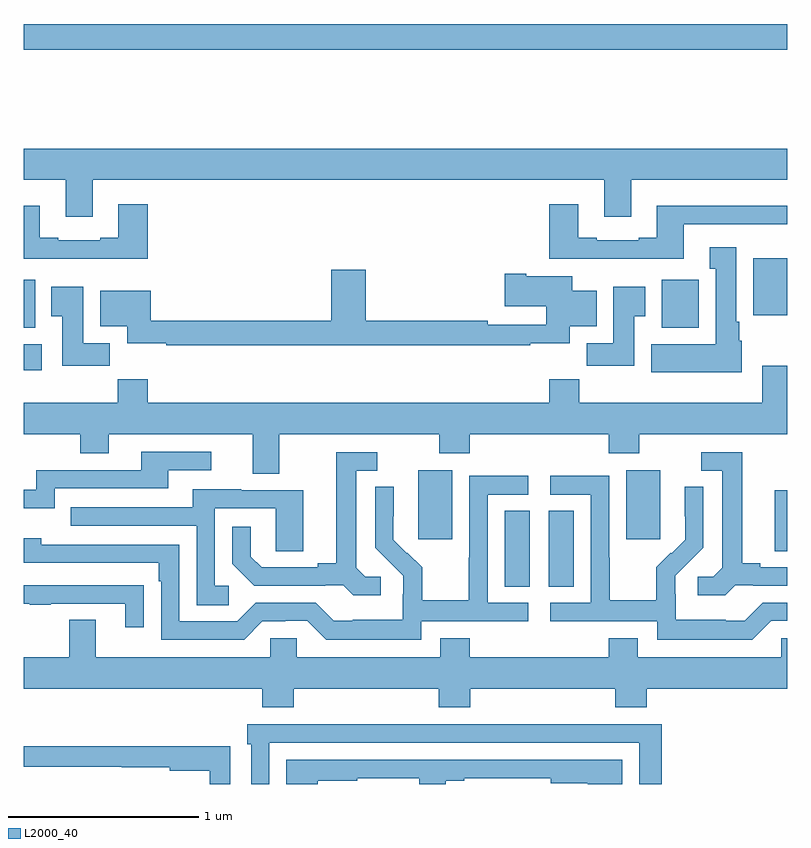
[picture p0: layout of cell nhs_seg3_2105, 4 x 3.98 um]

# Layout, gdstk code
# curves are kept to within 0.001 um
import gdstk
lib = gdstk.Library(unit=1e-6, precision=1e-09)
def R(c, l, rs):  # rectangles x0, y0, x1, y1
    for r in rs: c.add(gdstk.rectangle(r[:2], r[2:], *l))
def P(c, l, *ps):  # polygons
    for p in ps: c.add(gdstk.Polygon(p, *l))
L2000_40 = (2000, 40)

nhs_seg3_2105 = lib.new_cell('nhs_seg3_2105')
R(nhs_seg3_2105, L2000_40, [(221.519,717.433,221.65,717.83), (221.75,717.433,221.881,717.83), (222.935,717.619,223,717.939), (221.066,717.681,221.245,718.042), (222.155,717.681,222.334,718.042), (219,718.568,219.094,718.702), (219,718.79,219.061,719.04), (222.341,718.79,222.537,719.041), (222.821,718.856,223,719.152), (219,720.244,223,720.38)])
P(nhs_seg3_2105, L2000_40, [(219.361,719.564),(222.041,719.564),(222.041,719.37),(222.181,719.37),(222.181,719.564),(223,719.564),(223,719.728),(219,719.728),(219,719.564),(219.221,719.564),(219.221,719.37),(219.361,719.37)],
  [(222.457,719.331),(223,719.331),(223,719.428),(222.317,719.428),(222.317,719.26),(222.221,719.26),(222.221,719.247),(222.001,719.247),(222.001,719.26),(221.905,719.26),(221.905,719.437),(221.753,719.437),(221.753,719.15),(222.457,719.15)],
  [(219.65,719.437),(219.497,719.437),(219.497,719.26),(219.401,719.26),(219.401,719.247),(219.181,719.247),(219.181,719.26),(219.085,719.26),(219.085,719.428),(219,719.428),(219,719.15),(219.65,719.15)],
  [(222.76,718.722),(222.748,718.722),(222.748,718.822),(222.733,718.822),(222.733,719.212),(222.593,719.212),(222.593,719.099),(222.626,719.099),(222.626,718.702),(222.287,718.702),(222.287,718.556),(222.76,718.556)],
  [(221.654,718.709),(221.86,718.709),(221.86,718.796),(222.001,718.796),(222.001,718.984),(221.872,718.984),(221.872,719.059),(221.632,719.059),(221.632,719.072),(221.52,719.072),(221.52,718.901),(221.738,718.901),(221.738,718.806),(221.432,718.806),(221.432,718.826),(220.793,718.826),(220.793,719.092),(220.61,719.092),(220.61,718.826),(219.665,718.826),(219.665,718.984),(219.401,718.984),(219.401,718.796),(219.542,718.796),(219.542,718.709),(219.748,718.709),(219.748,718.698),(221.654,718.698)],
  [(222.199,718.849),(222.256,718.849),(222.256,719.005),(222.089,719.005),(222.089,718.708),(221.95,718.708),(221.95,718.59),(222.199,718.59)],
  [(219.452,718.708),(219.313,718.708),(219.313,719.005),(219.146,719.005),(219.146,718.849),(219.203,718.849),(219.203,718.59),(219.452,718.59)],
  [(220.339,718.232),(221.176,718.232),(221.176,718.133),(221.336,718.133),(221.336,718.232),(222.065,718.232),(222.065,718.133),(222.225,718.133),(222.225,718.232),(223,718.232),(223,718.591),(222.869,718.591),(222.869,718.396),(221.909,718.396),(221.909,718.52),(221.753,718.52),(221.753,718.396),(219.65,718.396),(219.65,718.52),(219.493,718.52),(219.493,718.396),(219,718.396),(219,718.232),(219.298,718.232),(219.298,718.133),(219.445,718.133),(219.445,718.232),(220.199,718.232),(220.199,718.024),(220.339,718.024)],
  [(219.162,717.948),(219.757,717.948),(219.757,718.044),(219.982,718.044),(219.982,718.14),(219.617,718.14),(219.617,718.044),(219.066,718.044),(219.066,717.942),(219,717.942),(219,717.845),(219.162,717.845)],
  [(222.726,717.441),(222.82,717.441),(222.82,717.438),(223,717.438),(223,717.534),(222.859,717.534),(222.859,717.557),(222.763,717.557),(222.763,718.137),(222.549,718.137),(222.549,718.041),(222.659,718.041),(222.659,717.533),(222.612,717.486),(222.531,717.486),(222.531,717.389),(222.674,717.389)],
  [(220.87,717.486),(220.788,717.486),(220.741,717.533),(220.741,718.041),(220.852,718.041),(220.852,718.137),(220.637,718.137),(220.637,717.557),(220.541,717.557),(220.541,717.534),(220.246,717.534),(220.189,717.591),(220.189,717.748),(220.092,717.748),(220.092,717.554),(220.208,717.438),(220.58,717.438),(220.58,717.441),(220.674,717.441),(220.726,717.389),(220.87,717.389)],
  [(222.915,717.255),(223,717.255),(223,717.348),(222.87,717.348),(222.777,717.255),(222.677,717.255),(222.677,717.259),(222.414,717.259),(222.414,717.393),(222.412,717.393),(222.412,717.49),(222.558,717.638),(222.558,717.956),(222.462,717.956),(222.462,717.802),(222.464,717.802),(222.464,717.68),(222.393,717.609),(222.39,717.612),(222.313,717.535),(222.313,717.361),(222.069,717.361),(222.069,717.584),(222.066,717.584),(222.066,718.014),(221.757,718.014),(221.757,717.915),(221.97,717.915),(221.97,717.348),(221.757,717.348),(221.757,717.252),(222.318,717.252),(222.318,717.155),(222.815,717.155)],
  [(221.082,717.252),(221.644,717.252),(221.644,717.348),(221.43,717.348),(221.43,717.915),(221.644,717.915),(221.644,718.014),(221.334,718.014),(221.334,717.584),(221.332,717.584),(221.332,717.361),(221.087,717.361),(221.087,717.535),(221.01,717.612),(221.007,717.609),(220.937,717.68),(220.938,717.956),(220.842,717.956),(220.842,717.638),(220.988,717.49),(220.988,717.393),(220.986,717.393),(220.986,717.259),(220.723,717.259),(220.723,717.255),(220.623,717.255),(220.53,717.348),(220.215,717.348),(220.119,717.252),(219.816,717.252),(219.816,717.654),(219.092,717.654),(219.092,717.688),(219,717.688),(219,717.558),(219.707,717.558),(219.707,717.461),(219.72,717.461),(219.72,717.156),(220.155,717.156),(220.251,717.252),(220.37,717.252),(220.37,717.255),(220.485,717.255),(220.585,717.155),(221.082,717.155)],
  [(220.075,717.438),(220.002,717.438),(220.002,717.843),(220.32,717.843),(220.32,717.619),(220.465,717.619),(220.465,717.939),(220.141,717.939),(220.141,717.943),(219.887,717.943),(219.887,717.849),(219.247,717.849),(219.247,717.753),(219.906,717.753),(219.906,717.337),(220.075,717.337)],
  [(219.629,717.44),(219.527,717.44),(219.527,717.441),(219,717.441),(219,717.345),(219.031,717.345),(219.031,717.34),(219.143,717.34),(219.143,717.345),(219.533,717.345),(219.533,717.222),(219.629,717.222)],
  [(220.415,716.9),(221.174,716.9),(221.174,716.801),(221.339,716.801),(221.339,716.9),(222.098,716.9),(222.098,716.801),(222.263,716.801),(222.263,716.9),(223,716.9),(223,717.162),(222.969,717.162),(222.969,717.064),(222.217,717.064),(222.217,717.163),(222.065,717.163),(222.065,717.064),(221.336,717.064),(221.336,717.163),(221.183,717.163),(221.183,717.064),(220.431,717.064),(220.431,717.162),(220.293,717.162),(220.293,717.064),(219.379,717.064),(219.379,717.259),(219.239,717.259),(219.239,717.064),(219,717.064),(219,716.9),(220.25,716.9),(220.25,716.801),(220.415,716.801)],
  [(220.287,716.616),(222.225,716.616),(222.225,716.4),(222.341,716.4),(222.341,716.712),(222.014,716.712),(222.014,716.714),(221.422,716.714),(221.422,716.712),(221.09,716.712),(221.09,716.714),(220.498,716.714),(220.498,716.712),(220.171,716.712),(220.171,716.609),(220.191,716.609),(220.191,716.4),(220.287,716.4)],
  [(220.083,716.599),(219,716.599),(219,716.49),(219.514,716.49),(219.514,716.489),(219.766,716.489),(219.766,716.47),(219.975,716.47),(219.975,716.4),(220.083,716.4)],
  [(220.54,716.418),(220.748,716.418),(220.748,716.43),(221.072,716.43),(221.072,716.4),(221.212,716.4),(221.212,716.418),(221.308,716.418),(221.308,716.43),(221.76,716.43),(221.76,716.405),(221.954,716.405),(221.954,716.4),(222.136,716.4),(222.136,716.527),(221.86,716.527),(221.86,716.526),(220.376,716.526),(220.376,716.4),(220.54,716.4)])

lib.write_gds('nhs_seg3_2105.gds')
